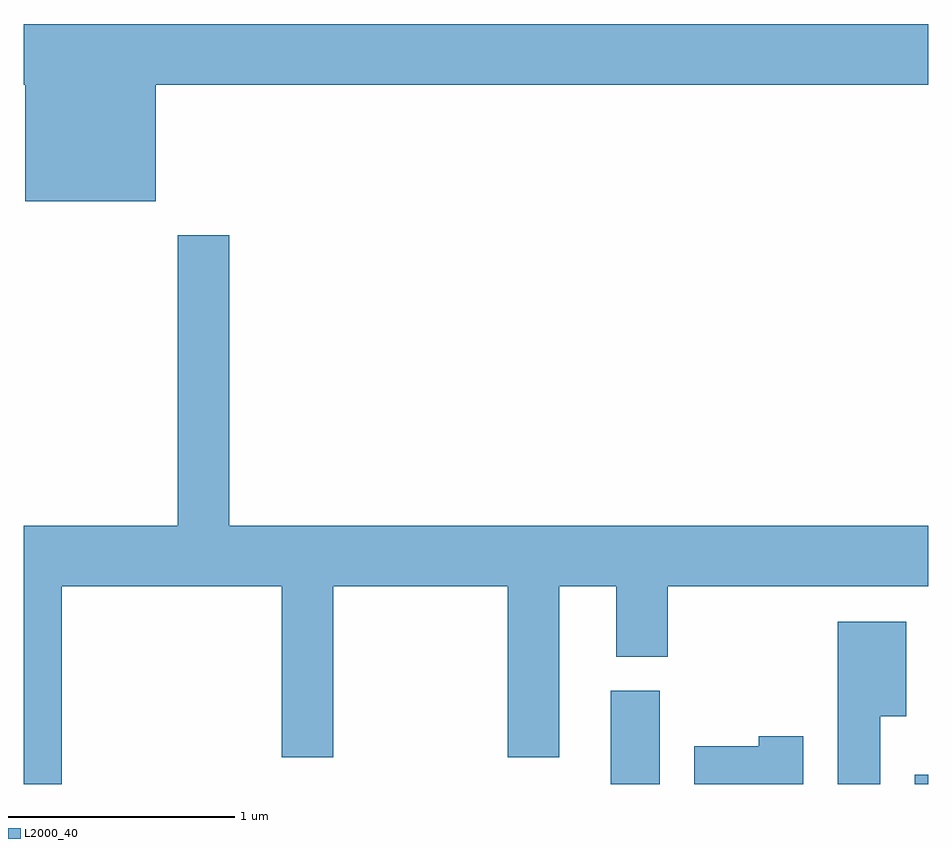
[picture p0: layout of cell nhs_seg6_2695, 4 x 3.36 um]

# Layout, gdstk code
import gdstk
lib = gdstk.Library(unit=1e-6, precision=1e-09)
def R(c, l, rs):  # rectangles x0, y0, x1, y1
    for r in rs: c.add(gdstk.rectangle(r[:2], r[2:], *l))
def P(c, l, *ps):  # polygons
    for p in ps: c.add(gdstk.Polygon(p, *l))
L2000_40 = (2000, 40)

nhs_seg6_2695 = lib.new_cell('nhs_seg6_2695')
R(nhs_seg6_2695, L2000_40, [(268.206,1660.162,268.424,1660.574), (269.551,1660.162,269.611,1660.204)])
P(nhs_seg6_2695, L2000_40, [(265.611,1663.256),(265.616,1663.256),(265.616,1662.741),(266.194,1662.741),(266.194,1663.256),(269.611,1663.256),(269.611,1663.524),(265.611,1663.524)],
  [(265.779,1661.036),(266.751,1661.036),(266.751,1660.281),(266.979,1660.281),(266.979,1661.036),(267.751,1661.036),(267.751,1660.281),(267.979,1660.281),(267.979,1661.036),(268.231,1661.036),(268.231,1660.726),(268.459,1660.726),(268.459,1661.036),(269.611,1661.036),(269.611,1661.304),(266.519,1661.304),(266.519,1662.589),(266.291,1662.589),(266.291,1661.304),(265.611,1661.304),(265.611,1660.162),(265.779,1660.162)],
  [(269.399,1660.461),(269.514,1660.461),(269.514,1660.879),(269.211,1660.879),(269.211,1660.162),(269.399,1660.162)],
  [(269.059,1660.374),(268.861,1660.374),(268.861,1660.329),(268.576,1660.329),(268.576,1660.162),(269.059,1660.162)])

lib.write_gds('nhs_seg6_2695.gds')
